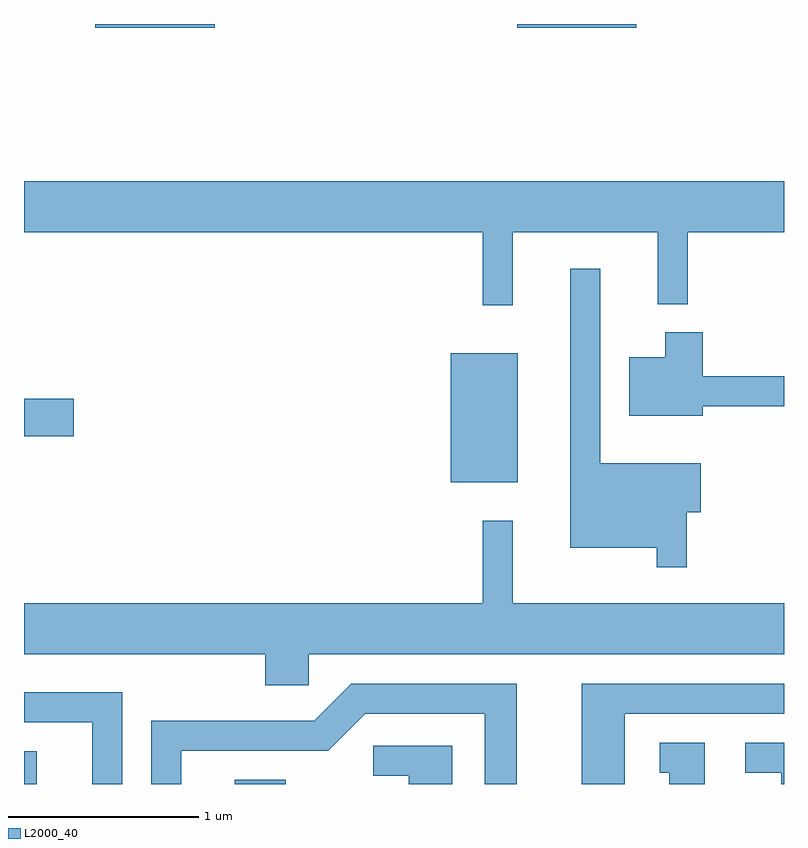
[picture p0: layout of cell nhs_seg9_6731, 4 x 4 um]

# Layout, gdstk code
import gdstk
lib = gdstk.Library(unit=1e-6, precision=1e-09)
def R(c, l, rs):  # rectangles x0, y0, x1, y1
    for r in rs: c.add(gdstk.rectangle(r[:2], r[2:], *l))
def P(c, l, *ps):  # polygons
    for p in ps: c.add(gdstk.Polygon(p, *l))
L2000_40 = (2000, 40)

nhs_seg9_6731 = lib.new_cell('nhs_seg9_6731')
R(nhs_seg9_6731, L2000_40, [(383.611,2024.432,383.679,2024.604), (384.721,2024.432,384.989,2024.454), (385.856,2026.021,386.209,2026.699), (383.611,2026.261,383.874,2026.459), (383.986,2028.411,384.614,2028.432), (386.206,2028.411,386.834,2028.432)])
P(nhs_seg9_6731, L2000_40, [(386.184,2027.336),(386.946,2027.336),(386.946,2026.958),(387.104,2026.958),(387.104,2027.336),(387.611,2027.336),(387.611,2027.604),(383.611,2027.604),(383.611,2027.336),(386.026,2027.336),(386.026,2026.953),(386.184,2026.953)],
  [(387.099,2025.861),(387.174,2025.861),(387.174,2026.119),(386.644,2026.119),(386.644,2027.143),(386.486,2027.143),(386.486,2025.676),(386.941,2025.676),(386.941,2025.573),(387.099,2025.573)],
  [(387.184,2026.421),(387.611,2026.421),(387.611,2026.579),(387.184,2026.579),(387.184,2026.809),(386.986,2026.809),(386.986,2026.679),(386.796,2026.679),(386.796,2026.371),(387.184,2026.371)],
  [(385.109,2025.116),(387.611,2025.116),(387.611,2025.384),(386.184,2025.384),(386.184,2025.818),(386.026,2025.818),(386.026,2025.384),(383.611,2025.384),(383.611,2025.116),(384.881,2025.116),(384.881,2024.951),(385.109,2024.951)],
  [(384.439,2024.606),(385.212,2024.606),(385.407,2024.801),(386.036,2024.801),(386.036,2024.432),(386.204,2024.432),(386.204,2024.959),(385.334,2024.959),(385.139,2024.764),(384.281,2024.764),(384.281,2024.432),(384.439,2024.432)],
  [(386.774,2024.801),(387.611,2024.801),(387.611,2024.959),(386.546,2024.959),(386.546,2024.432),(386.774,2024.432)],
  [(384.129,2024.914),(383.611,2024.914),(383.611,2024.756),(383.971,2024.756),(383.971,2024.432),(384.129,2024.432)],
  [(387.611,2024.649),(387.408,2024.649),(387.408,2024.491),(387.596,2024.491),(387.596,2024.432),(387.611,2024.432)],
  [(387.194,2024.649),(386.958,2024.649),(386.958,2024.491),(387.006,2024.491),(387.006,2024.432),(387.194,2024.432)],
  [(385.864,2024.634),(385.448,2024.634),(385.448,2024.476),(385.636,2024.476),(385.636,2024.432),(385.864,2024.432)])

lib.write_gds('nhs_seg9_6731.gds')
